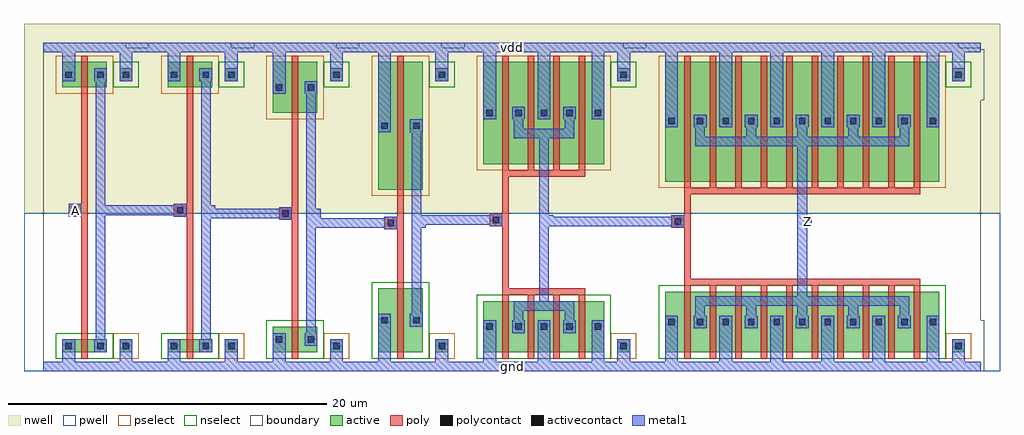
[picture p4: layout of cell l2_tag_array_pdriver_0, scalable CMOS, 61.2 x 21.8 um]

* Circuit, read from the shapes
.subckt l2_tag_array_pdriver_0 A Z gnd vdd
M1 l2_tag_array_pinv_7_1/A A gnd gnd nfet w=0.8u l=0.4u
M2 l2_tag_array_pinv_8_2/A l2_tag_array_pinv_7_1/A gnd gnd nfet w=0.8u l=0.4u
M3 l2_tag_array_pinv_9_3/A l2_tag_array_pinv_8_2/A gnd gnd nfet w=1.6u l=0.4u
M4 l2_tag_array_pinv_10_4/A l2_tag_array_pinv_9_3/A gnd gnd nfet w=4u l=0.4u
M5 l2_tag_array_pinv_11_5/A l2_tag_array_pinv_10_4/A gnd gnd nfet w=3.2u l=0.4u m=4
M6 Z l2_tag_array_pinv_11_5/A gnd gnd nfet w=3.8u l=0.4u m=10
M7 l2_tag_array_pinv_7_1/A A vdd vdd pfet w=1.6u l=0.4u
M8 l2_tag_array_pinv_8_2/A l2_tag_array_pinv_7_1/A vdd vdd pfet w=1.6u l=0.4u
M9 l2_tag_array_pinv_9_3/A l2_tag_array_pinv_8_2/A vdd vdd pfet w=3.2u l=0.4u
M10 l2_tag_array_pinv_10_4/A l2_tag_array_pinv_9_3/A vdd vdd pfet w=8u l=0.4u
M11 l2_tag_array_pinv_11_5/A l2_tag_array_pinv_10_4/A vdd vdd pfet w=6.4u l=0.4u m=4
M12 Z l2_tag_array_pinv_11_5/A vdd vdd pfet w=7.5u l=0.4u m=10
.ends

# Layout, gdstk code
import gdstk
lib = gdstk.Library(unit=1e-6, precision=1e-09)
def R(c, l, rs):  # rectangles x0, y0, x1, y1
    for r in rs: c.add(gdstk.rectangle(r[:2], r[2:], *l))
def A(c, l, x, y, w, h, nx, ny, dx, dy):  # array of equal rectangles
    R(c, l, [(x+i*dx, y+j*dy, x+i*dx+w, y+j*dy+h) for i in range(nx) for j in range(ny)])
pwell = (41, 0)
nwell = (42, 0)
active = (43, 0)
pselect = (44, 0)
nselect = (45, 0)
poly = (46, 0)
polycontact = (47, 0)
activecontact = (48, 0)
metal1 = (49, 0)
boundary = (63, 0)

l2_tag_array_contact_11 = lib.new_cell('l2_tag_array_contact_11')
R(l2_tag_array_contact_11, nwell, [(-1.2,-1.2,2,2)])
R(l2_tag_array_contact_11, active, [(0,0,0.8,0.8)])
R(l2_tag_array_contact_11, pselect, [(-0.4,-0.4,1.2,1.2)])
R(l2_tag_array_contact_11, activecontact, [(0.2,0.2,0.6,0.6)])
R(l2_tag_array_contact_11, metal1, [(0,0,0.8,0.8)])
R(l2_tag_array_contact_11, boundary, [(-1.2,-1.2,2,2)])

l2_tag_array_pmos_m1_w1_ = lib.new_cell('l2_tag_array_pmos_m1_w1_600_sm1_dm1_da_p')
R(l2_tag_array_pmos_m1_w1_, nwell, [(-1.2,-1.2,4,2.8)])
R(l2_tag_array_pmos_m1_w1_, active, [(0,0,2.8,1.6)])
R(l2_tag_array_pmos_m1_w1_, pselect, [(-0.4,-0.4,3.2,2)])
R(l2_tag_array_pmos_m1_w1_, poly, [(1.2,-0.4,1.6,2), (1.2,-0.4,1.6,2)])
R(l2_tag_array_pmos_m1_w1_, metal1, [(0,0.4,0.8,1.2), (2,0.4,2.8,1.2)])
R(l2_tag_array_pmos_m1_w1_, boundary, [(-1.2,-1.2,4,2.8)])
l2_tag_array_pmos_m1_w1_.add(gdstk.Reference(l2_tag_array_contact_11, (0,0.4)))
l2_tag_array_pmos_m1_w1_.add(gdstk.Reference(l2_tag_array_contact_11, (2,0.4)))
l2_tag_array_pmos_m1_w1_.add(gdstk.Label('G', (1.4,0.8), layer=46, texttype=0))
l2_tag_array_pmos_m1_w1_.add(gdstk.Label('S', (0.4,0.8), layer=49, texttype=0))
l2_tag_array_pmos_m1_w1_.add(gdstk.Label('D', (2.4,0.8), layer=49, texttype=0))

l2_tag_array_contact_10 = lib.new_cell('l2_tag_array_contact_10')
R(l2_tag_array_contact_10, pwell, [(-1.2,-1.2,2,2)])
R(l2_tag_array_contact_10, active, [(0,0,0.8,0.8)])
R(l2_tag_array_contact_10, nselect, [(-0.4,-0.4,1.2,1.2)])
R(l2_tag_array_contact_10, activecontact, [(0.2,0.2,0.6,0.6)])
R(l2_tag_array_contact_10, metal1, [(0,0,0.8,0.8)])
R(l2_tag_array_contact_10, boundary, [(-1.2,-1.2,2,2)])

l2_tag_array_nmos_m1_w0_ = lib.new_cell('l2_tag_array_nmos_m1_w0_800_sm1_dm1_da_p')
R(l2_tag_array_nmos_m1_w0_, pwell, [(-1.2,-1.2,4,2)])
R(l2_tag_array_nmos_m1_w0_, active, [(0,0,2.8,0.8)])
R(l2_tag_array_nmos_m1_w0_, nselect, [(-0.4,-0.4,3.2,1.2)])
R(l2_tag_array_nmos_m1_w0_, poly, [(1.2,-0.4,1.6,1.2), (1.2,-0.4,1.6,1.2)])
R(l2_tag_array_nmos_m1_w0_, metal1, [(0,0,0.8,0.8), (2,0,2.8,0.8)])
R(l2_tag_array_nmos_m1_w0_, boundary, [(-1.2,-1.2,4,2)])
l2_tag_array_nmos_m1_w0_.add(gdstk.Reference(l2_tag_array_contact_10, (0,0)))
l2_tag_array_nmos_m1_w0_.add(gdstk.Reference(l2_tag_array_contact_10, (2,0)))
l2_tag_array_nmos_m1_w0_.add(gdstk.Label('G', (1.4,0.4), layer=46, texttype=0))
l2_tag_array_nmos_m1_w0_.add(gdstk.Label('S', (0.4,0.4), layer=49, texttype=0))
l2_tag_array_nmos_m1_w0_.add(gdstk.Label('D', (2.4,0.4), layer=49, texttype=0))

l2_tag_array_contact_12 = lib.new_cell('l2_tag_array_contact_12')
R(l2_tag_array_contact_12, nwell, [(-1.2,-1.2,2,2)])
R(l2_tag_array_contact_12, active, [(0,0,0.8,0.8)])
R(l2_tag_array_contact_12, nselect, [(-0.4,-0.4,1.2,1.2)])
R(l2_tag_array_contact_12, activecontact, [(0.2,0.2,0.6,0.6)])
R(l2_tag_array_contact_12, metal1, [(0,0,0.8,0.8)])
R(l2_tag_array_contact_12, boundary, [(-1.2,-1.2,2,2)])

l2_tag_array_contact_13 = lib.new_cell('l2_tag_array_contact_13')
R(l2_tag_array_contact_13, pwell, [(-1.2,-1.2,2,2)])
R(l2_tag_array_contact_13, active, [(0,0,0.8,0.8)])
R(l2_tag_array_contact_13, pselect, [(-0.4,-0.4,1.2,1.2)])
R(l2_tag_array_contact_13, activecontact, [(0.2,0.2,0.6,0.6)])
R(l2_tag_array_contact_13, metal1, [(0,0,0.8,0.8)])
R(l2_tag_array_contact_13, boundary, [(-1.2,-1.2,2,2)])

l2_tag_array_contact_14 = lib.new_cell('l2_tag_array_contact_14')
R(l2_tag_array_contact_14, poly, [(0,0,0.8,0.8)])
R(l2_tag_array_contact_14, polycontact, [(0.2,0.2,0.6,0.6)])
R(l2_tag_array_contact_14, metal1, [(0,0,0.8,0.8)])
R(l2_tag_array_contact_14, boundary, [(0,0,0.8,0.8)])

l2_tag_array_pinv_7 = lib.new_cell('l2_tag_array_pinv_7')
R(l2_tag_array_pinv_7, pwell, [(-1.2,-0.3,7.8,9.6)])
R(l2_tag_array_pinv_7, nwell, [(-1.2,9.6,7.8,21.5)])
R(l2_tag_array_pinv_7, poly, [(2.4,2.1,2.8,17.1), (2,9.4,2.4,10.2)])
R(l2_tag_array_pinv_7, metal1, [(0,-0.3,6.6,0.3), (1.2,-0.3,2,0.9), (4.8,0,5.6,1.3), (3.3,0.9,3.9,18.7), (1.6,9.4,2.4,10.2), (3.6,9.5,4.2,10.1), (1.2,17.9,2,20.3), (4.8,18.3,5.6,20), (0,19.7,6.6,20.3)])
R(l2_tag_array_pinv_7, boundary, [(0,0,6.6,20), (0,0,6.6,20)])
l2_tag_array_pinv_7.add(gdstk.Reference(l2_tag_array_pmos_m1_w1_, (1.2,17.5)))
l2_tag_array_pinv_7.add(gdstk.Reference(l2_tag_array_nmos_m1_w0_, (1.2,0.9)))
l2_tag_array_pinv_7.add(gdstk.Reference(l2_tag_array_contact_12, (4.8,17.9)))
l2_tag_array_pinv_7.add(gdstk.Reference(l2_tag_array_contact_13, (4.8,0.9)))
l2_tag_array_pinv_7.add(gdstk.Reference(l2_tag_array_contact_14, (1.6,9.4)))
l2_tag_array_pinv_7.add(gdstk.Label('A', (2,9.8), layer=49, texttype=0))
l2_tag_array_pinv_7.add(gdstk.Label('Z', (3.9,9.8), layer=49, texttype=0))
l2_tag_array_pinv_7.add(gdstk.Label('gnd', (3.3,0), layer=49, texttype=0))
l2_tag_array_pinv_7.add(gdstk.Label('vdd', (3.3,20), layer=49, texttype=0))

l2_tag_array_pmos_m1_w3_ = lib.new_cell('l2_tag_array_pmos_m1_w3_200_sm1_dm1_da_p')
R(l2_tag_array_pmos_m1_w3_, nwell, [(-1.2,-1.2,4,4.4)])
R(l2_tag_array_pmos_m1_w3_, active, [(0,0,2.8,3.2)])
R(l2_tag_array_pmos_m1_w3_, pselect, [(-0.4,-0.4,3.2,3.6)])
R(l2_tag_array_pmos_m1_w3_, poly, [(1.2,-0.4,1.6,3.6), (1.2,-0.4,1.6,3.6)])
R(l2_tag_array_pmos_m1_w3_, metal1, [(0,1.2,0.8,2), (2,1.2,2.8,2)])
R(l2_tag_array_pmos_m1_w3_, boundary, [(-1.2,-1.2,4,4.4)])
l2_tag_array_pmos_m1_w3_.add(gdstk.Reference(l2_tag_array_contact_11, (0,1.2)))
l2_tag_array_pmos_m1_w3_.add(gdstk.Reference(l2_tag_array_contact_11, (2,1.2)))
l2_tag_array_pmos_m1_w3_.add(gdstk.Label('G', (1.4,1.6), layer=46, texttype=0))
l2_tag_array_pmos_m1_w3_.add(gdstk.Label('S', (0.4,1.6), layer=49, texttype=0))
l2_tag_array_pmos_m1_w3_.add(gdstk.Label('D', (2.4,1.6), layer=49, texttype=0))

l2_tag_array_nmos_m1_w1_ = lib.new_cell('l2_tag_array_nmos_m1_w1_600_sm1_dm1_da_p')
R(l2_tag_array_nmos_m1_w1_, pwell, [(-1.2,-1.2,4,2.8)])
R(l2_tag_array_nmos_m1_w1_, active, [(0,0,2.8,1.6)])
R(l2_tag_array_nmos_m1_w1_, nselect, [(-0.4,-0.4,3.2,2)])
R(l2_tag_array_nmos_m1_w1_, poly, [(1.2,-0.4,1.6,2), (1.2,-0.4,1.6,2)])
R(l2_tag_array_nmos_m1_w1_, metal1, [(0,0.4,0.8,1.2), (2,0.4,2.8,1.2)])
R(l2_tag_array_nmos_m1_w1_, boundary, [(-1.2,-1.2,4,2.8)])
l2_tag_array_nmos_m1_w1_.add(gdstk.Reference(l2_tag_array_contact_10, (0,0.4)))
l2_tag_array_nmos_m1_w1_.add(gdstk.Reference(l2_tag_array_contact_10, (2,0.4)))
l2_tag_array_nmos_m1_w1_.add(gdstk.Label('G', (1.4,0.8), layer=46, texttype=0))
l2_tag_array_nmos_m1_w1_.add(gdstk.Label('S', (0.4,0.8), layer=49, texttype=0))
l2_tag_array_nmos_m1_w1_.add(gdstk.Label('D', (2.4,0.8), layer=49, texttype=0))

l2_tag_array_pinv_8 = lib.new_cell('l2_tag_array_pinv_8')
R(l2_tag_array_pinv_8, pwell, [(-1.2,-0.3,7.8,9.6)])
R(l2_tag_array_pinv_8, nwell, [(-1.2,9.6,7.8,21.5)])
R(l2_tag_array_pinv_8, poly, [(2.4,2.9,2.8,15.5), (2,9.2,2.4,10)])
R(l2_tag_array_pinv_8, metal1, [(0,-0.3,6.6,0.3), (1.2,-0.3,2,1.3), (4.8,0,5.6,1.3), (3.3,1.3,3.9,17.9), (1.6,9.2,2.4,10), (3.6,9.3,4.2,9.9), (1.2,17.1,2,20.3), (4.8,18.3,5.6,20), (0,19.7,6.6,20.3)])
R(l2_tag_array_pinv_8, boundary, [(0,0,6.6,20), (0,0,6.6,20)])
l2_tag_array_pinv_8.add(gdstk.Reference(l2_tag_array_pmos_m1_w3_, (1.2,15.9)))
l2_tag_array_pinv_8.add(gdstk.Reference(l2_tag_array_nmos_m1_w1_, (1.2,0.9)))
l2_tag_array_pinv_8.add(gdstk.Reference(l2_tag_array_contact_12, (4.8,17.9)))
l2_tag_array_pinv_8.add(gdstk.Reference(l2_tag_array_contact_13, (4.8,0.9)))
l2_tag_array_pinv_8.add(gdstk.Reference(l2_tag_array_contact_14, (1.6,9.2)))
l2_tag_array_pinv_8.add(gdstk.Label('A', (2,9.6), layer=49, texttype=0))
l2_tag_array_pinv_8.add(gdstk.Label('Z', (3.9,9.6), layer=49, texttype=0))
l2_tag_array_pinv_8.add(gdstk.Label('gnd', (3.3,0), layer=49, texttype=0))
l2_tag_array_pinv_8.add(gdstk.Label('vdd', (3.3,20), layer=49, texttype=0))

l2_tag_array_pmos_m1_w8_ = lib.new_cell('l2_tag_array_pmos_m1_w8_000_sm1_dm1_da_p')
R(l2_tag_array_pmos_m1_w8_, nwell, [(-1.2,-1.2,4,9.2)])
R(l2_tag_array_pmos_m1_w8_, active, [(0,0,2.8,8)])
R(l2_tag_array_pmos_m1_w8_, pselect, [(-0.4,-0.4,3.2,8.4)])
R(l2_tag_array_pmos_m1_w8_, poly, [(1.2,-0.4,1.6,8.4), (1.2,-0.4,1.6,8.4)])
R(l2_tag_array_pmos_m1_w8_, metal1, [(0,3.6,0.8,4.4), (2,3.6,2.8,4.4)])
R(l2_tag_array_pmos_m1_w8_, boundary, [(-1.2,-1.2,4,9.2)])
l2_tag_array_pmos_m1_w8_.add(gdstk.Reference(l2_tag_array_contact_11, (0,3.6)))
l2_tag_array_pmos_m1_w8_.add(gdstk.Reference(l2_tag_array_contact_11, (2,3.6)))
l2_tag_array_pmos_m1_w8_.add(gdstk.Label('G', (1.4,4), layer=46, texttype=0))
l2_tag_array_pmos_m1_w8_.add(gdstk.Label('S', (0.4,4), layer=49, texttype=0))
l2_tag_array_pmos_m1_w8_.add(gdstk.Label('D', (2.4,4), layer=49, texttype=0))

l2_tag_array_nmos_m1_w4_ = lib.new_cell('l2_tag_array_nmos_m1_w4_000_sm1_dm1_da_p')
R(l2_tag_array_nmos_m1_w4_, pwell, [(-1.2,-1.2,4,5.2)])
R(l2_tag_array_nmos_m1_w4_, active, [(0,0,2.8,4)])
R(l2_tag_array_nmos_m1_w4_, nselect, [(-0.4,-0.4,3.2,4.4)])
R(l2_tag_array_nmos_m1_w4_, poly, [(1.2,-0.4,1.6,4.4), (1.2,-0.4,1.6,4.4)])
R(l2_tag_array_nmos_m1_w4_, metal1, [(0,1.6,0.8,2.4), (2,1.6,2.8,2.4)])
R(l2_tag_array_nmos_m1_w4_, boundary, [(-1.2,-1.2,4,5.2)])
l2_tag_array_nmos_m1_w4_.add(gdstk.Reference(l2_tag_array_contact_10, (0,1.6)))
l2_tag_array_nmos_m1_w4_.add(gdstk.Reference(l2_tag_array_contact_10, (2,1.6)))
l2_tag_array_nmos_m1_w4_.add(gdstk.Label('G', (1.4,2), layer=46, texttype=0))
l2_tag_array_nmos_m1_w4_.add(gdstk.Label('S', (0.4,2), layer=49, texttype=0))
l2_tag_array_nmos_m1_w4_.add(gdstk.Label('D', (2.4,2), layer=49, texttype=0))

l2_tag_array_pinv_9 = lib.new_cell('l2_tag_array_pinv_9')
R(l2_tag_array_pinv_9, pwell, [(-1.2,-0.3,7.8,9.6)])
R(l2_tag_array_pinv_9, nwell, [(-1.2,9.6,7.8,21.5)])
R(l2_tag_array_pinv_9, poly, [(2.4,5.3,2.8,10.7), (2,8.6,2.4,9.4)])
R(l2_tag_array_pinv_9, metal1, [(0,-0.3,6.6,0.3), (1.2,-0.3,2,2.5), (4.8,0,5.6,1.3), (3.3,2.5,3.9,15.5), (1.6,8.6,2.4,9.4), (3.6,8.7,4.2,9.3), (1.2,14.7,2,20.3), (4.8,18.3,5.6,20), (0,19.7,6.6,20.3)])
R(l2_tag_array_pinv_9, boundary, [(0,0,6.6,20), (0,0,6.6,20)])
l2_tag_array_pinv_9.add(gdstk.Reference(l2_tag_array_pmos_m1_w8_, (1.2,11.1)))
l2_tag_array_pinv_9.add(gdstk.Reference(l2_tag_array_nmos_m1_w4_, (1.2,0.9)))
l2_tag_array_pinv_9.add(gdstk.Reference(l2_tag_array_contact_12, (4.8,17.9)))
l2_tag_array_pinv_9.add(gdstk.Reference(l2_tag_array_contact_13, (4.8,0.9)))
l2_tag_array_pinv_9.add(gdstk.Reference(l2_tag_array_contact_14, (1.6,8.6)))
l2_tag_array_pinv_9.add(gdstk.Label('A', (2,9), layer=49, texttype=0))
l2_tag_array_pinv_9.add(gdstk.Label('Z', (3.9,9), layer=49, texttype=0))
l2_tag_array_pinv_9.add(gdstk.Label('gnd', (3.3,0), layer=49, texttype=0))
l2_tag_array_pinv_9.add(gdstk.Label('vdd', (3.3,20), layer=49, texttype=0))

l2_tag_array_pmos_m4_w6_ = lib.new_cell('l2_tag_array_pmos_m4_w6_400_sm1_dm1_da_p')
R(l2_tag_array_pmos_m4_w6_, nwell, [(-1.2,-1.2,8.8,7.6)])
R(l2_tag_array_pmos_m4_w6_, active, [(0,0,7.6,6.4)])
R(l2_tag_array_pmos_m4_w6_, pselect, [(-0.4,-0.4,8,6.8)])
A(l2_tag_array_pmos_m4_w6_, poly, 1.2, -0.4, 0.4, 7.2, 4, 1, 1.6, 0)
R(l2_tag_array_pmos_m4_w6_, poly, [(1.2,-0.8,6.4,-0.4)])
A(l2_tag_array_pmos_m4_w6_, metal1, 0, 2.8, 0.8, 0.8, 3, 1, 3.4, 0)
R(l2_tag_array_pmos_m4_w6_, metal1, [(1.9,1.6,5.7,2.2), (1.9,1.9,2.5,3.2), (5.1,1.9,5.7,3.2)])
R(l2_tag_array_pmos_m4_w6_, boundary, [(-1.2,-1.2,8.8,7.6)])
l2_tag_array_pmos_m4_w6_.add(gdstk.Reference(l2_tag_array_contact_11, (0,2.8)))
l2_tag_array_pmos_m4_w6_.add(gdstk.Reference(l2_tag_array_contact_11, (1.8,2.8)))
l2_tag_array_pmos_m4_w6_.add(gdstk.Reference(l2_tag_array_contact_11, (3.4,2.8)))
l2_tag_array_pmos_m4_w6_.add(gdstk.Reference(l2_tag_array_contact_11, (5,2.8)))
l2_tag_array_pmos_m4_w6_.add(gdstk.Reference(l2_tag_array_contact_11, (6.8,2.8)))
l2_tag_array_pmos_m4_w6_.add(gdstk.Label('G', (3.8,-0.6), layer=46, texttype=0))
l2_tag_array_pmos_m4_w6_.add(gdstk.Label('S', (7.2,3.2), layer=49, texttype=0))
l2_tag_array_pmos_m4_w6_.add(gdstk.Label('S', (0.4,3.2), layer=49, texttype=0))
l2_tag_array_pmos_m4_w6_.add(gdstk.Label('S', (3.8,3.2), layer=49, texttype=0))
l2_tag_array_pmos_m4_w6_.add(gdstk.Label('D', (3.8,1.9), layer=49, texttype=0))

l2_tag_array_nmos_m4_w3_ = lib.new_cell('l2_tag_array_nmos_m4_w3_200_sm1_dm1_da_p')
R(l2_tag_array_nmos_m4_w3_, pwell, [(-1.2,-1.2,8.8,4.4)])
R(l2_tag_array_nmos_m4_w3_, active, [(0,0,7.6,3.2)])
R(l2_tag_array_nmos_m4_w3_, nselect, [(-0.4,-0.4,8,3.6)])
A(l2_tag_array_nmos_m4_w3_, poly, 1.2, -0.4, 0.4, 4, 4, 1, 1.6, 0)
R(l2_tag_array_nmos_m4_w3_, poly, [(1.2,3.6,6.4,4)])
A(l2_tag_array_nmos_m4_w3_, metal1, 0, 1.2, 0.8, 0.8, 3, 1, 3.4, 0)
R(l2_tag_array_nmos_m4_w3_, metal1, [(1.9,1.6,2.5,2.9), (5.1,1.6,5.7,2.9), (1.9,2.6,5.7,3.2)])
R(l2_tag_array_nmos_m4_w3_, boundary, [(-1.2,-1.2,8.8,4.4)])
l2_tag_array_nmos_m4_w3_.add(gdstk.Reference(l2_tag_array_contact_10, (0,1.2)))
l2_tag_array_nmos_m4_w3_.add(gdstk.Reference(l2_tag_array_contact_10, (1.8,1.2)))
l2_tag_array_nmos_m4_w3_.add(gdstk.Reference(l2_tag_array_contact_10, (3.4,1.2)))
l2_tag_array_nmos_m4_w3_.add(gdstk.Reference(l2_tag_array_contact_10, (5,1.2)))
l2_tag_array_nmos_m4_w3_.add(gdstk.Reference(l2_tag_array_contact_10, (6.8,1.2)))
l2_tag_array_nmos_m4_w3_.add(gdstk.Label('G', (3.8,3.8), layer=46, texttype=0))
l2_tag_array_nmos_m4_w3_.add(gdstk.Label('S', (0.4,1.6), layer=49, texttype=0))
l2_tag_array_nmos_m4_w3_.add(gdstk.Label('S', (3.8,1.6), layer=49, texttype=0))
l2_tag_array_nmos_m4_w3_.add(gdstk.Label('S', (7.2,1.6), layer=49, texttype=0))
l2_tag_array_nmos_m4_w3_.add(gdstk.Label('D', (3.8,2.9), layer=49, texttype=0))

l2_tag_array_pinv_10 = lib.new_cell('l2_tag_array_pinv_10')
R(l2_tag_array_pinv_10, pwell, [(-1.2,-0.3,12.6,9.6)])
R(l2_tag_array_pinv_10, nwell, [(-1.2,9.6,12.6,21.5)])
R(l2_tag_array_pinv_10, poly, [(2.4,4.9,2.8,11.9), (2,8.8,2.4,9.6)])
A(l2_tag_array_pinv_10, metal1, 1.2, -0.3, 0.8, 2.4, 3, 1, 3.4, 0)
A(l2_tag_array_pinv_10, metal1, 1.2, 15.5, 0.8, 4.8, 3, 1, 3.4, 0)
R(l2_tag_array_pinv_10, metal1, [(0,-0.3,11.4,0.3), (9.6,0,10.4,1.3), (4.7,3.5,5.3,14.9), (1.6,8.8,2.4,9.6), (5,8.9,5.6,9.5), (9.6,18.3,10.4,20), (0,19.7,11.4,20.3)])
R(l2_tag_array_pinv_10, boundary, [(0,0,11.4,20), (0,0,11.4,20)])
l2_tag_array_pinv_10.add(gdstk.Reference(l2_tag_array_pmos_m4_w6_, (1.2,12.7)))
l2_tag_array_pinv_10.add(gdstk.Reference(l2_tag_array_nmos_m4_w3_, (1.2,0.9)))
l2_tag_array_pinv_10.add(gdstk.Reference(l2_tag_array_contact_12, (9.6,17.9)))
l2_tag_array_pinv_10.add(gdstk.Reference(l2_tag_array_contact_13, (9.6,0.9)))
l2_tag_array_pinv_10.add(gdstk.Reference(l2_tag_array_contact_14, (1.6,8.8)))
l2_tag_array_pinv_10.add(gdstk.Label('A', (2,9.2), layer=49, texttype=0))
l2_tag_array_pinv_10.add(gdstk.Label('Z', (5.3,9.2), layer=49, texttype=0))
l2_tag_array_pinv_10.add(gdstk.Label('gnd', (5.7,0), layer=49, texttype=0))
l2_tag_array_pinv_10.add(gdstk.Label('vdd', (5.7,20), layer=49, texttype=0))

l2_tag_array_pmos_m10_w7 = lib.new_cell('l2_tag_array_pmos_m10_w7_500_sm1_dm1_da_p')
R(l2_tag_array_pmos_m10_w7, nwell, [(-1.2,-1.2,18.4,8.7)])
R(l2_tag_array_pmos_m10_w7, active, [(0,0,17.2,7.5)])
R(l2_tag_array_pmos_m10_w7, pselect, [(-0.4,-0.4,17.6,7.9)])
A(l2_tag_array_pmos_m10_w7, poly, 1.2, -0.4, 0.4, 8.3, 10, 1, 1.6, 0)
R(l2_tag_array_pmos_m10_w7, poly, [(1.2,-0.8,16,-0.4)])
A(l2_tag_array_pmos_m10_w7, metal1, 1.9, 2.4, 0.6, 1.4, 5, 1, 3.2, 0)
A(l2_tag_array_pmos_m10_w7, metal1, 3.4, 3.4, 0.8, 0.8, 4, 1, 3.2, 0)
R(l2_tag_array_pmos_m10_w7, metal1, [(1.9,2.2,15.3,2.8), (0,3.4,0.8,4.2), (16.4,3.4,17.2,4.2)])
R(l2_tag_array_pmos_m10_w7, boundary, [(-1.2,-1.2,18.4,8.7)])
l2_tag_array_pmos_m10_w7.add(gdstk.Reference(l2_tag_array_contact_11, (0,3.4)))
l2_tag_array_pmos_m10_w7.add(gdstk.Reference(l2_tag_array_contact_11, (1.8,3.4)))
l2_tag_array_pmos_m10_w7.add(gdstk.Reference(l2_tag_array_contact_11, (3.4,3.4)))
l2_tag_array_pmos_m10_w7.add(gdstk.Reference(l2_tag_array_contact_11, (5,3.4)))
l2_tag_array_pmos_m10_w7.add(gdstk.Reference(l2_tag_array_contact_11, (6.6,3.4)))
l2_tag_array_pmos_m10_w7.add(gdstk.Reference(l2_tag_array_contact_11, (8.2,3.4)))
l2_tag_array_pmos_m10_w7.add(gdstk.Reference(l2_tag_array_contact_11, (9.8,3.4)))
l2_tag_array_pmos_m10_w7.add(gdstk.Reference(l2_tag_array_contact_11, (11.4,3.4)))
l2_tag_array_pmos_m10_w7.add(gdstk.Reference(l2_tag_array_contact_11, (13,3.4)))
l2_tag_array_pmos_m10_w7.add(gdstk.Reference(l2_tag_array_contact_11, (14.6,3.4)))
l2_tag_array_pmos_m10_w7.add(gdstk.Reference(l2_tag_array_contact_11, (16.4,3.4)))
l2_tag_array_pmos_m10_w7.add(gdstk.Label('G', (8.6,-0.6), layer=46, texttype=0))
l2_tag_array_pmos_m10_w7.add(gdstk.Label('S', (0.4,3.8), layer=49, texttype=0))
l2_tag_array_pmos_m10_w7.add(gdstk.Label('S', (3.8,3.8), layer=49, texttype=0))
l2_tag_array_pmos_m10_w7.add(gdstk.Label('S', (16.8,3.8), layer=49, texttype=0))
l2_tag_array_pmos_m10_w7.add(gdstk.Label('S', (10.2,3.8), layer=49, texttype=0))
l2_tag_array_pmos_m10_w7.add(gdstk.Label('S', (13.4,3.8), layer=49, texttype=0))
l2_tag_array_pmos_m10_w7.add(gdstk.Label('S', (7,3.8), layer=49, texttype=0))
l2_tag_array_pmos_m10_w7.add(gdstk.Label('D', (8.6,2.5), layer=49, texttype=0))

l2_tag_array_nmos_m10_w3 = lib.new_cell('l2_tag_array_nmos_m10_w3_800_sm1_dm1_da_p')
R(l2_tag_array_nmos_m10_w3, pwell, [(-1.2,-1.2,18.4,5)])
R(l2_tag_array_nmos_m10_w3, active, [(0,0,17.2,3.8)])
R(l2_tag_array_nmos_m10_w3, nselect, [(-0.4,-0.4,17.6,4.2)])
A(l2_tag_array_nmos_m10_w3, poly, 1.2, -0.4, 0.4, 4.6, 10, 1, 1.6, 0)
R(l2_tag_array_nmos_m10_w3, poly, [(1.2,4.2,16,4.6)])
A(l2_tag_array_nmos_m10_w3, metal1, 3.4, 1.5, 0.8, 0.8, 4, 1, 3.2, 0)
A(l2_tag_array_nmos_m10_w3, metal1, 1.9, 1.9, 0.6, 1.3, 5, 1, 3.2, 0)
R(l2_tag_array_nmos_m10_w3, metal1, [(0,1.5,0.8,2.3), (16.4,1.5,17.2,2.3), (1.9,2.9,15.3,3.5)])
R(l2_tag_array_nmos_m10_w3, boundary, [(-1.2,-1.2,18.4,5)])
l2_tag_array_nmos_m10_w3.add(gdstk.Reference(l2_tag_array_contact_10, (0,1.5)))
l2_tag_array_nmos_m10_w3.add(gdstk.Reference(l2_tag_array_contact_10, (1.8,1.5)))
l2_tag_array_nmos_m10_w3.add(gdstk.Reference(l2_tag_array_contact_10, (3.4,1.5)))
l2_tag_array_nmos_m10_w3.add(gdstk.Reference(l2_tag_array_contact_10, (5,1.5)))
l2_tag_array_nmos_m10_w3.add(gdstk.Reference(l2_tag_array_contact_10, (6.6,1.5)))
l2_tag_array_nmos_m10_w3.add(gdstk.Reference(l2_tag_array_contact_10, (8.2,1.5)))
l2_tag_array_nmos_m10_w3.add(gdstk.Reference(l2_tag_array_contact_10, (9.8,1.5)))
l2_tag_array_nmos_m10_w3.add(gdstk.Reference(l2_tag_array_contact_10, (11.4,1.5)))
l2_tag_array_nmos_m10_w3.add(gdstk.Reference(l2_tag_array_contact_10, (13,1.5)))
l2_tag_array_nmos_m10_w3.add(gdstk.Reference(l2_tag_array_contact_10, (14.6,1.5)))
l2_tag_array_nmos_m10_w3.add(gdstk.Reference(l2_tag_array_contact_10, (16.4,1.5)))
l2_tag_array_nmos_m10_w3.add(gdstk.Label('G', (8.6,4.4), layer=46, texttype=0))
l2_tag_array_nmos_m10_w3.add(gdstk.Label('S', (3.8,1.9), layer=49, texttype=0))
l2_tag_array_nmos_m10_w3.add(gdstk.Label('S', (0.4,1.9), layer=49, texttype=0))
l2_tag_array_nmos_m10_w3.add(gdstk.Label('S', (7,1.9), layer=49, texttype=0))
l2_tag_array_nmos_m10_w3.add(gdstk.Label('S', (10.2,1.9), layer=49, texttype=0))
l2_tag_array_nmos_m10_w3.add(gdstk.Label('S', (16.8,1.9), layer=49, texttype=0))
l2_tag_array_nmos_m10_w3.add(gdstk.Label('S', (13.4,1.9), layer=49, texttype=0))
l2_tag_array_nmos_m10_w3.add(gdstk.Label('D', (8.6,3.2), layer=49, texttype=0))

l2_tag_array_pinv_11 = lib.new_cell('l2_tag_array_pinv_11')
R(l2_tag_array_pinv_11, pwell, [(-1.2,-0.3,22.2,9.6)])
R(l2_tag_array_pinv_11, nwell, [(-1.2,9.6,22.2,21.5)])
R(l2_tag_array_pinv_11, poly, [(2.4,5.5,2.8,10.8), (2,8.7,2.4,9.5)])
A(l2_tag_array_pinv_11, metal1, 4.6, -0.3, 0.8, 2.7, 4, 1, 3.2, 0)
A(l2_tag_array_pinv_11, metal1, 4.6, 15, 0.8, 5.3, 4, 1, 3.2, 0)
R(l2_tag_array_pinv_11, metal1, [(0,-0.3,21,0.3), (1.2,-0.3,2,2.4), (17.6,-0.3,18.4,2.4), (19.2,0,20,1.3), (9.5,3.8,10.1,14.4), (1.6,8.7,2.4,9.5), (9.8,8.8,10.4,9.4), (1.2,15,2,20.3), (17.6,15,18.4,20.3), (19.2,18.3,20,20), (0,19.7,21,20.3)])
R(l2_tag_array_pinv_11, boundary, [(0,0,21,20), (0,0,21,20)])
l2_tag_array_pinv_11.add(gdstk.Reference(l2_tag_array_pmos_m10_w7, (1.2,11.6)))
l2_tag_array_pinv_11.add(gdstk.Reference(l2_tag_array_nmos_m10_w3, (1.2,0.9)))
l2_tag_array_pinv_11.add(gdstk.Reference(l2_tag_array_contact_12, (19.2,17.9)))
l2_tag_array_pinv_11.add(gdstk.Reference(l2_tag_array_contact_13, (19.2,0.9)))
l2_tag_array_pinv_11.add(gdstk.Reference(l2_tag_array_contact_14, (1.6,8.7)))
l2_tag_array_pinv_11.add(gdstk.Label('A', (2,9.1), layer=49, texttype=0))
l2_tag_array_pinv_11.add(gdstk.Label('Z', (10.1,9.1), layer=49, texttype=0))
l2_tag_array_pinv_11.add(gdstk.Label('gnd', (10.5,0), layer=49, texttype=0))
l2_tag_array_pinv_11.add(gdstk.Label('vdd', (10.5,20), layer=49, texttype=0))

l2_tag_array_pdriver_0 = lib.new_cell('l2_tag_array_pdriver_0')
R(l2_tag_array_pdriver_0, pwell, [(-1.2,-0.3,60,9.6)])
R(l2_tag_array_pdriver_0, nwell, [(-1.2,9.6,60,21.5)])
R(l2_tag_array_pdriver_0, metal1, [(0,-0.3,58.8,0.3), (16.8,8.7,17.4,9.3), (17.1,8.7,21.8,9.3), (31.4,8.8,32,9.4), (31.7,8.8,39.8,9.4), (47.6,8.8,48.2,9.4), (23.4,8.9,24,9.5), (23.7,8.9,28.4,9.5), (16.8,9,17.4,9.6), (23.4,9,24,9.2), (31.4,9.1,32,9.2), (10.2,9.3,10.8,9.9), (10.5,9.3,15.2,9.9), (1.6,9.4,2.4,10.2), (3.9,9.5,8.6,10.1), (10.2,9.6,10.8,9.8), (0,19.7,58.8,20.3)])
R(l2_tag_array_pdriver_0, boundary, [(0,0,58.8,20), (0,0,58.8,20)])
l2_tag_array_pdriver_0.add(gdstk.Reference(l2_tag_array_pinv_7, (0,0)))
l2_tag_array_pdriver_0.add(gdstk.Reference(l2_tag_array_pinv_7, (6.6,0)))
l2_tag_array_pdriver_0.add(gdstk.Reference(l2_tag_array_pinv_8, (13.2,0)))
l2_tag_array_pdriver_0.add(gdstk.Reference(l2_tag_array_pinv_9, (19.8,0)))
l2_tag_array_pdriver_0.add(gdstk.Reference(l2_tag_array_pinv_10, (26.4,0)))
l2_tag_array_pdriver_0.add(gdstk.Reference(l2_tag_array_pinv_11, (37.8,0)))
l2_tag_array_pdriver_0.add(gdstk.Label('Z', (47.9,9.1), layer=49, texttype=0))
l2_tag_array_pdriver_0.add(gdstk.Label('A', (2,9.8), layer=49, texttype=0))
l2_tag_array_pdriver_0.add(gdstk.Label('gnd', (29.4,0), layer=49, texttype=0))
l2_tag_array_pdriver_0.add(gdstk.Label('vdd', (29.4,20), layer=49, texttype=0))

lib.write_gds('l2_tag_array_pdriver_0.gds')
